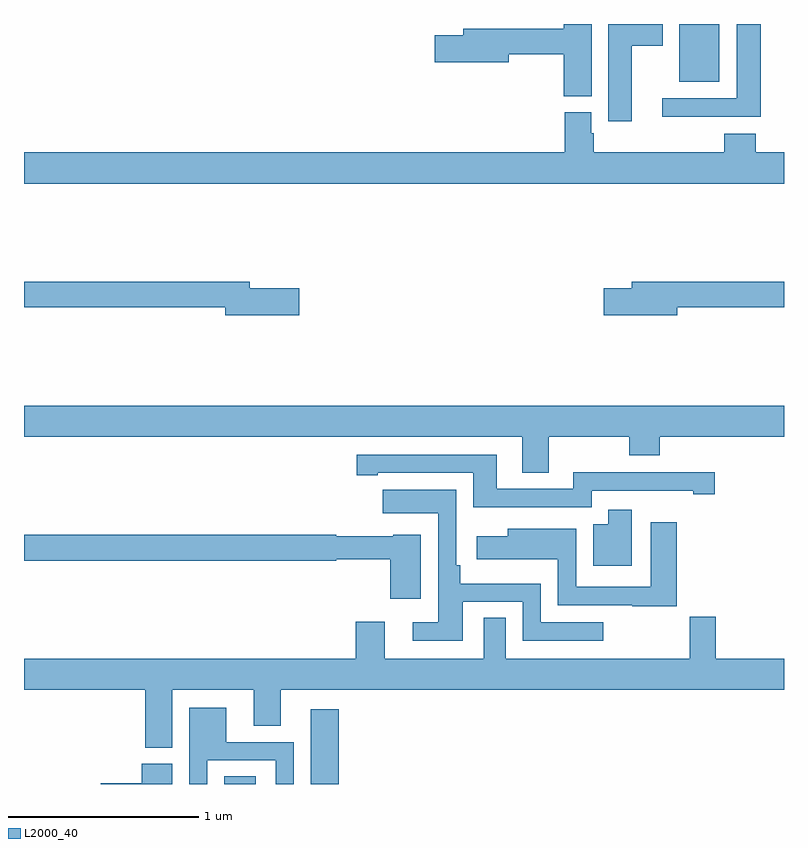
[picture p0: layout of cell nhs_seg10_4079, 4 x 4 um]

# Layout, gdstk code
import gdstk
lib = gdstk.Library(unit=1e-6, precision=1e-09)
def R(c, l, rs):  # rectangles x0, y0, x1, y1
    for r in rs: c.add(gdstk.rectangle(r[:2], r[2:], *l))
def P(c, l, *ps):  # polygons
    for p in ps: c.add(gdstk.Polygon(p, *l))
L2000_40 = (2000, 40)

nhs_seg10_4079 = lib.new_cell('nhs_seg10_4079')
R(nhs_seg10_4079, L2000_40, [(338.054,1286.5,338.221,1286.54), (338.51,1286.5,338.657,1286.893), (340.448,1290.197,340.66,1290.5)])
P(nhs_seg10_4079, L2000_40, [(340.198,1290.386),(340.363,1290.386),(340.363,1290.5),(340.076,1290.5),(340.076,1289.988),(340.198,1289.988)],
  [(340.877,1290.5),(340.751,1290.5),(340.751,1290.108),(340.359,1290.108),(340.359,1290.011),(340.877,1290.011)],
  [(339.988,1290.5),(339.842,1290.5),(339.842,1290.476),(339.311,1290.476),(339.311,1290.44),(339.162,1290.44),(339.162,1290.298),(339.55,1290.298),(339.55,1290.34),(339.842,1290.34),(339.842,1290.121),(339.988,1290.121)],
  [(341,1289.824),(340.85,1289.824),(340.85,1289.923),(340.685,1289.923),(340.685,1289.824),(339.998,1289.824),(339.998,1289.925),(339.985,1289.925),(339.985,1290.036),(339.845,1290.036),(339.845,1289.824),(337,1289.824),(337,1289.66),(341,1289.66)],
  [(338.449,1289.108),(338.188,1289.108),(338.188,1289.144),(337,1289.144),(337,1289.008),(338.06,1289.008),(338.06,1288.966),(338.449,1288.966)],
  [(340.438,1289.008),(341,1289.008),(341,1289.144),(340.199,1289.144),(340.199,1289.108),(340.05,1289.108),(340.05,1288.966),(340.438,1288.966)],
  [(339.763,1288.328),(340.186,1288.328),(340.186,1288.229),(340.346,1288.229),(340.346,1288.328),(341,1288.328),(341,1288.492),(337,1288.492),(337,1288.328),(339.623,1288.328),(339.623,1288.138),(339.763,1288.138)],
  [(339.987,1288.044),(340.294,1288.044),(340.294,1288.043),(340.523,1288.043),(340.523,1288.024),(340.636,1288.024),(340.636,1288.14),(340.097,1288.14),(340.097,1288.142),(339.891,1288.142),(339.891,1288.053),(339.487,1288.053),(339.487,1288.233),(338.751,1288.233),(338.751,1288.125),(338.863,1288.125),(338.863,1288.137),(339.365,1288.137),(339.365,1287.957),(339.987,1287.957)],
  [(339.31,1287.459),(339.624,1287.459),(339.624,1287.255),(340.048,1287.255),(340.048,1287.351),(339.72,1287.351),(339.72,1287.555),(339.296,1287.555),(339.296,1287.652),(339.276,1287.652),(339.276,1288.048),(338.889,1288.048),(338.889,1287.926),(339.18,1287.926),(339.18,1287.351),(339.045,1287.351),(339.045,1287.255),(339.31,1287.255)],
  [(340.198,1287.943),(340.076,1287.943),(340.076,1287.868),(339.995,1287.868),(339.995,1287.65),(340.198,1287.65)],
  [(340.436,1287.877),(340.298,1287.877),(340.298,1287.537),(339.906,1287.537),(339.906,1287.844),(339.545,1287.844),(339.545,1287.805),(339.384,1287.805),(339.384,1287.683),(339.81,1287.683),(339.81,1287.441),(340.202,1287.441),(340.202,1287.436),(340.436,1287.436)],
  [(339.088,1287.811),(338.943,1287.811),(338.943,1287.805),(338.643,1287.805),(338.643,1287.812),(337,1287.812),(337,1287.676),(338.643,1287.676),(338.643,1287.684),(338.927,1287.684),(338.927,1287.474),(339.088,1287.474)],
  [(337.78,1286.996),(338.21,1286.996),(338.21,1286.806),(338.35,1286.806),(338.35,1286.996),(341,1286.996),(341,1287.16),(340.64,1287.16),(340.64,1287.379),(340.504,1287.379),(340.504,1287.16),(339.535,1287.16),(339.535,1287.374),(339.419,1287.374),(339.419,1287.16),(338.899,1287.16),(338.899,1287.355),(338.747,1287.355),(338.747,1287.16),(337,1287.16),(337,1286.996),(337.637,1286.996),(337.637,1286.692),(337.78,1286.692)],
  [(337.965,1286.625),(338.325,1286.625),(338.325,1286.5),(338.421,1286.5),(338.421,1286.721),(338.065,1286.721),(338.065,1286.902),(337.869,1286.902),(337.869,1286.5),(337.965,1286.5)],
  [(337.78,1286.607),(337.619,1286.607),(337.619,1286.504),(337.404,1286.504),(337.404,1286.5),(337.78,1286.5)])

lib.write_gds('nhs_seg10_4079.gds')
